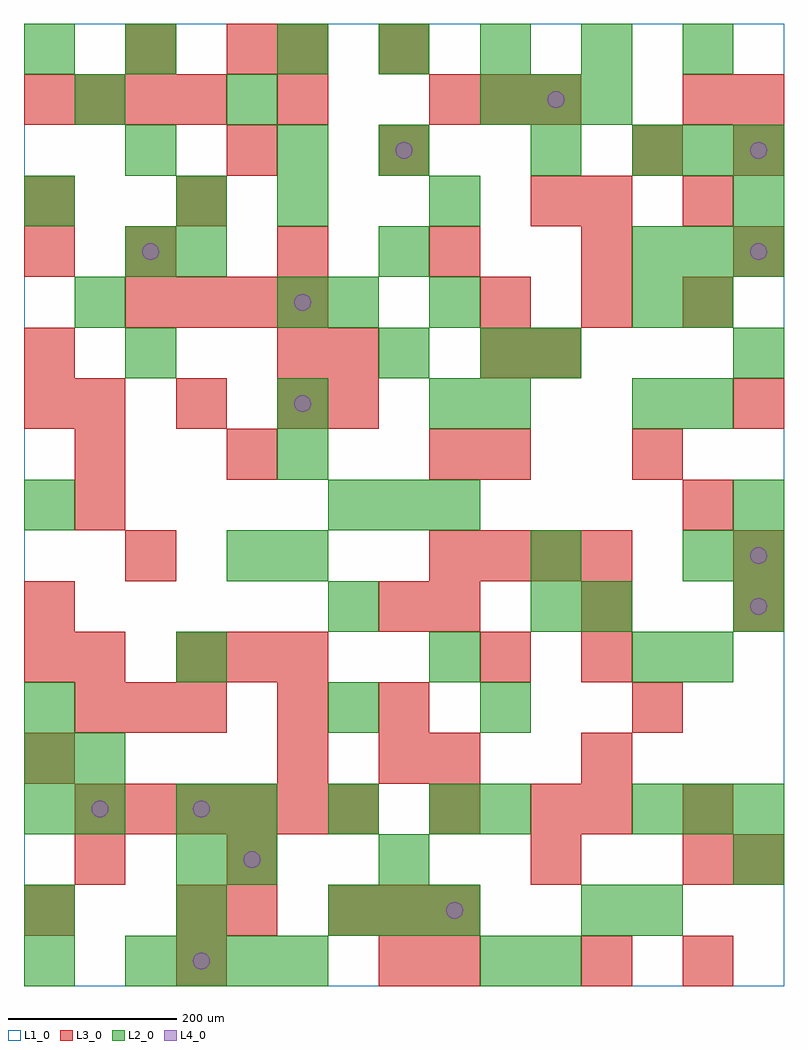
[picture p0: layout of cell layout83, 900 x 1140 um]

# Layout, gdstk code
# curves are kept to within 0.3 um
import gdstk
lib = gdstk.Library(unit=1e-6, precision=1e-09)
def R(c, l, rs):  # rectangles x0, y0, x1, y1
    for r in rs: c.add(gdstk.rectangle(r[:2], r[2:], *l))
def A(c, l, x, y, w, h, nx, ny, dx, dy):  # array of equal rectangles
    R(c, l, [(x+i*dx, y+j*dy, x+i*dx+w, y+j*dy+h) for i in range(nx) for j in range(ny)])
def P(c, l, *ps):  # polygons
    for p in ps: c.add(gdstk.Polygon(p, *l))
L1_0 = (1, 0)
L2_0 = (2, 0)
L3_0 = (3, 0)
L4_0 = (4, 0)

layout83 = lib.new_cell('layout83')
R(layout83, L1_0, [(0,0,900,1140)])
A(layout83, L2_0, 120, 0, 60, 60, 4, 1, 60, 0)
A(layout83, L2_0, 0, 60, 60, 60, 3, 1, 180, 0)
A(layout83, L2_0, 480, 60, 60, 60, 1, 3, 0, 300)
A(layout83, L2_0, 720, 60, 60, 60, 1, 3, 0, 300)
A(layout83, L2_0, 0, 180, 60, 60, 1, 3, 0, 60)
A(layout83, L2_0, 240, 180, 60, 60, 3, 1, 120, 0)
A(layout83, L2_0, 720, 180, 60, 60, 3, 2, 60, 660)
A(layout83, L2_0, 840, 420, 60, 60, 1, 3, 0, 60)
A(layout83, L2_0, 600, 480, 60, 60, 1, 3, 0, 240)
A(layout83, L2_0, 360, 540, 60, 60, 3, 1, 60, 0)
A(layout83, L2_0, 300, 660, 60, 60, 1, 3, 0, 120)
A(layout83, L2_0, 120, 720, 60, 60, 1, 4, 0, 120)
A(layout83, L2_0, 420, 720, 60, 60, 1, 3, 0, 120)
A(layout83, L2_0, 720, 960, 60, 60, 3, 1, 60, 0)
A(layout83, L2_0, 540, 1020, 60, 60, 3, 1, 60, 0)
A(layout83, L2_0, 300, 1080, 60, 60, 5, 1, 120, 0)
R(layout83, L2_0, [(0,0,60,60), (540,0,600,60), (600,0,660,60), (420,60,480,120), (660,60,720,120), (180,120,240,180), (240,120,300,180), (420,120,480,180), (840,120,900,180), (60,180,120,240), (180,180,240,240), (540,180,600,240), (60,240,120,300), (360,300,420,360), (540,300,600,360), (180,360,240,420), (780,360,840,420), (360,420,420,480), (600,420,660,480), (660,420,720,480), (240,480,300,540), (300,480,360,540), (780,480,840,540), (0,540,60,600), (300,600,360,660), (540,660,600,720), (780,660,840,720), (540,720,600,780), (840,720,900,780), (60,780,120,840), (360,780,420,840), (480,780,540,840), (720,780,780,840), (780,780,840,840), (180,840,240,900), (0,900,60,960), (180,900,240,960), (480,900,540,960), (840,900,900,960), (300,960,360,1020), (60,1020,120,1080), (240,1020,300,1080), (0,1080,60,1140)])
A(layout83, L3_0, 360, 60, 60, 60, 3, 1, 60, 0)
A(layout83, L3_0, 60, 180, 60, 60, 6, 1, 60, 0)
A(layout83, L3_0, 780, 180, 60, 60, 1, 3, 0, 360)
A(layout83, L3_0, 60, 300, 60, 60, 3, 1, 60, 0)
A(layout83, L3_0, 180, 360, 60, 60, 3, 1, 60, 0)
A(layout83, L3_0, 480, 420, 60, 60, 3, 1, 180, 0)
A(layout83, L3_0, 480, 480, 60, 60, 4, 1, 60, 0)
A(layout83, L3_0, 60, 660, 60, 60, 3, 1, 120, 0)
A(layout83, L3_0, 120, 780, 60, 60, 4, 1, 60, 0)
A(layout83, L3_0, 540, 780, 60, 60, 3, 1, 120, 0)
A(layout83, L3_0, 120, 840, 60, 60, 5, 1, 180, 0)
A(layout83, L3_0, 0, 1020, 60, 60, 4, 1, 60, 0)
A(layout83, L3_0, 480, 1020, 60, 60, 3, 1, 60, 0)
R(layout83, L3_0, [(180,0,240,60), (420,0,480,60), (480,0,540,60), (660,0,720,60), (780,0,840,60), (0,60,60,120), (180,60,240,120), (240,60,300,120), (60,120,120,180), (240,120,300,180), (600,120,660,180), (780,120,840,180), (840,120,900,180), (480,180,540,240), (600,180,660,240), (660,180,720,240), (0,240,60,300), (300,240,360,300), (420,240,480,300), (480,240,540,300), (660,240,720,300), (300,300,360,360), (420,300,480,360), (720,300,780,360), (0,360,60,420), (60,360,120,420), (540,360,600,420), (660,360,720,420), (0,420,60,480), (420,420,480,480), (120,480,180,540), (840,480,900,540), (60,540,120,600), (60,600,120,660), (240,600,300,660), (480,600,540,660), (540,600,600,660), (720,600,780,660), (0,660,60,720), (360,660,420,720), (840,660,900,720), (0,720,60,780), (300,720,360,780), (360,720,420,780), (540,720,600,780), (600,720,660,780), (0,840,60,900), (0,900,60,960), (180,900,240,960), (600,900,660,960), (660,900,720,960), (240,960,300,1020), (420,960,480,1020), (720,960,780,1020), (840,960,900,1020), (300,1020,360,1080), (780,1020,840,1080), (840,1020,900,1080), (120,1080,180,1140), (240,1080,300,1140), (300,1080,360,1140), (420,1080,480,1140)])
P(layout83, L4_0, [(100,210),(99.239,213.827),(97.071,217.071),(93.827,219.239),(90,220),(86.173,219.239),(82.929,217.071),(80.761,213.827),(80,210),(80.761,206.173),(82.929,202.929),(86.173,200.761),(90,200),(93.827,200.761),(97.071,202.929),(99.239,206.173)],
  [(160,870),(159.239,873.827),(157.071,877.071),(153.827,879.239),(150,880),(146.173,879.239),(142.929,877.071),(140.761,873.827),(140,870),(140.761,866.173),(142.929,862.929),(146.173,860.761),(150,860),(153.827,860.761),(157.071,862.929),(159.239,866.173)],
  [(220,30),(219.239,33.827),(217.071,37.071),(213.827,39.239),(210,40),(206.173,39.239),(202.929,37.071),(200.761,33.827),(200,30),(200.761,26.173),(202.929,22.929),(206.173,20.761),(210,20),(213.827,20.761),(217.071,22.929),(219.239,26.173)],
  [(220,210),(219.239,213.827),(217.071,217.071),(213.827,219.239),(210,220),(206.173,219.239),(202.929,217.071),(200.761,213.827),(200,210),(200.761,206.173),(202.929,202.929),(206.173,200.761),(210,200),(213.827,200.761),(217.071,202.929),(219.239,206.173)],
  [(280,150),(279.239,153.827),(277.071,157.071),(273.827,159.239),(270,160),(266.173,159.239),(262.929,157.071),(260.761,153.827),(260,150),(260.761,146.173),(262.929,142.929),(266.173,140.761),(270,140),(273.827,140.761),(277.071,142.929),(279.239,146.173)],
  [(340,690),(339.239,693.827),(337.071,697.071),(333.827,699.239),(330,700),(326.173,699.239),(322.929,697.071),(320.761,693.827),(320,690),(320.761,686.173),(322.929,682.929),(326.173,680.761),(330,680),(333.827,680.761),(337.071,682.929),(339.239,686.173)],
  [(340,810),(339.239,813.827),(337.071,817.071),(333.827,819.239),(330,820),(326.173,819.239),(322.929,817.071),(320.761,813.827),(320,810),(320.761,806.173),(322.929,802.929),(326.173,800.761),(330,800),(333.827,800.761),(337.071,802.929),(339.239,806.173)],
  [(460,990),(459.239,993.827),(457.071,997.071),(453.827,999.239),(450,1000),(446.173,999.239),(442.929,997.071),(440.761,993.827),(440,990),(440.761,986.173),(442.929,982.929),(446.173,980.761),(450,980),(453.827,980.761),(457.071,982.929),(459.239,986.173)],
  [(520,90),(519.239,93.827),(517.071,97.071),(513.827,99.239),(510,100),(506.173,99.239),(502.929,97.071),(500.761,93.827),(500,90),(500.761,86.173),(502.929,82.929),(506.173,80.761),(510,80),(513.827,80.761),(517.071,82.929),(519.239,86.173)],
  [(640,1050),(639.239,1053.827),(637.071,1057.071),(633.827,1059.239),(630,1060),(626.173,1059.239),(622.929,1057.071),(620.761,1053.827),(620,1050),(620.761,1046.173),(622.929,1042.929),(626.173,1040.761),(630,1040),(633.827,1040.761),(637.071,1042.929),(639.239,1046.173)],
  [(880,450),(879.239,453.827),(877.071,457.071),(873.827,459.239),(870,460),(866.173,459.239),(862.929,457.071),(860.761,453.827),(860,450),(860.761,446.173),(862.929,442.929),(866.173,440.761),(870,440),(873.827,440.761),(877.071,442.929),(879.239,446.173)],
  [(880,510),(879.239,513.827),(877.071,517.071),(873.827,519.239),(870,520),(866.173,519.239),(862.929,517.071),(860.761,513.827),(860,510),(860.761,506.173),(862.929,502.929),(866.173,500.761),(870,500),(873.827,500.761),(877.071,502.929),(879.239,506.173)],
  [(880,870),(879.239,873.827),(877.071,877.071),(873.827,879.239),(870,880),(866.173,879.239),(862.929,877.071),(860.761,873.827),(860,870),(860.761,866.173),(862.929,862.929),(866.173,860.761),(870,860),(873.827,860.761),(877.071,862.929),(879.239,866.173)],
  [(880,990),(879.239,993.827),(877.071,997.071),(873.827,999.239),(870,1000),(866.173,999.239),(862.929,997.071),(860.761,993.827),(860,990),(860.761,986.173),(862.929,982.929),(866.173,980.761),(870,980),(873.827,980.761),(877.071,982.929),(879.239,986.173)])

lib.write_gds('layout83.gds')
